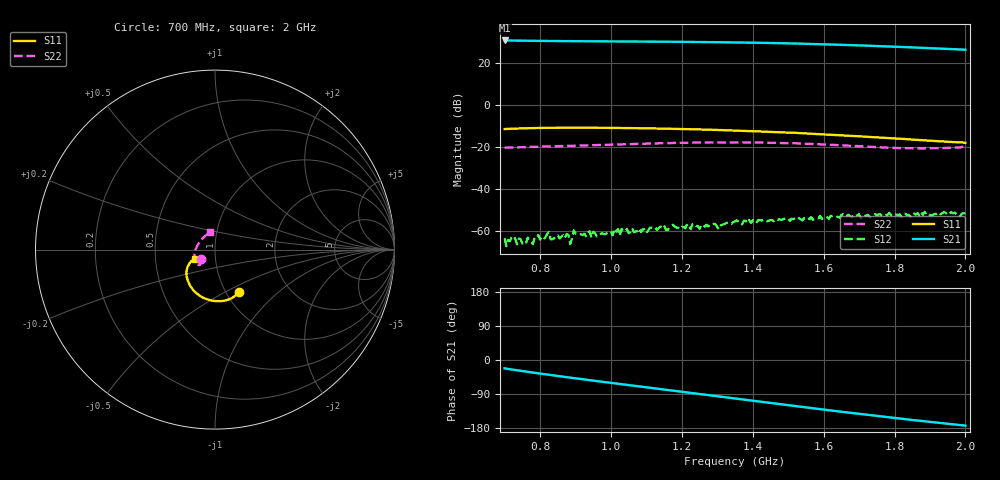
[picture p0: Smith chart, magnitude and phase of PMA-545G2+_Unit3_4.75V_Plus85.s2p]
!Mini-Circuits Laboratory
!S-Parameters
!Model: PMA-545G2+
!Run / Lot / Date Code: N/A / N/A / NA
!Fixture: NA; TEST BOARD: TB-607+
!AUTO PORT EXTENSION DONE: PORT<1>=120.99ps; PORT<2>=143.047ps
!Network Analyzer: PNA-X N5242A - 423 4 ports;  Serial number: 71256
!Date: 1/11/2011
!S/N: Unit# 3
# Hz  S  dB  R  50
!Frequency  S11 dB  S11 Deg  S21 dB  S21 Deg  S12 dB  S12 Deg  S22 dB  S22 Deg
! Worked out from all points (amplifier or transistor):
!   261 points, 700 MHz to 2 GHz, reference 50 ohm
!   highest |S21| = 30.8 dB at 700 MHz (marker M1)
!   |S21| within 3 dB of that: start of sweep to 1.804 GHz
!   unconditionally stable (mu >= 1): start of sweep to end of sweep
!   at 915 MHz: K = 16.26, MAG = 30.8 dB, |S12| = -61.5 dB
!   at 1.35 GHz: K = 8.79, MAG = 30.2 dB, |S12| = -55.4 dB
!   at 2 GHz: K = 8.82, MAG = 26.5 dB, |S12| = -51.5 dB
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7e8  -11.41 -60.7  30.76 -22.1  -63.39 142.5  -20.33 -147.0
7.55e8  -11.07 -66.3  30.63 -29.9  -65.66 114.6  -20.00 -144.0
8.1e8  -10.85 -71.6  30.53 -37.1  -63.92 130.2  -19.75 -141.4
8.6e8  -10.79 -76.5  30.46 -43.4  -62.68 139.4  -19.52 -139.3
8.85e8  -10.77 -78.9  30.43 -46.5  -66.14 130.9  -19.40 -138.2
8.95e8  -10.77 -80.0  30.41 -47.8  -59.68 133.0  -19.38 -138.3
9.2e8  -10.77 -82.5  30.39 -50.8  -61.86 130.7  -19.25 -137.5
9.85e8  -10.84 -88.9  30.32 -58.6  -61.49 146.5  -18.94 -136.0
1.035e9  -10.92 -93.9  30.28 -64.4  -60.07 127.4  -18.65 -135.5
1.135e9  -11.16 -103.4  30.19 -76.1  -58.46 129.5  -18.20 -135.8
1.19e9  -11.37 -108.7  30.12 -82.6  -58.40 130.2  -17.99 -137.4
1.245e9  -11.58 -113.6  30.04 -89.1  -57.64 125.2  -17.88 -139.3
1.3e9  -11.84 -118.6  29.94 -95.6  -58.08 132.5  -17.75 -142.0
1.35e9  -12.12 -122.9  29.83 -101.5  -55.41 115.5  -17.74 -145.3
1.445e9  -12.72 -130.8  29.57 -112.7  -55.06 123.1  -17.91 -152.7
1.52e9  -13.22 -136.6  29.30 -121.6  -53.93 117.0  -18.17 -159.7
1.57e9  -13.65 -140.3  29.08 -127.4  -54.62 119.1  -18.48 -165.8
1.67e9  -14.58 -146.2  28.59 -138.8  -52.21 108.4  -19.31 179.8
1.725e9  -15.10 -149.0  28.26 -144.9  -52.23 106.4  -19.84 169.8
1.785e9  -15.71 -151.1  27.89 -151.4  -51.28 101.3  -20.34 157.3
1.88e9  -16.73 -153.7  27.24 -161.3  -52.23 93.8  -20.61 134.8
2e9  -17.98 -154.6  26.34 -173.2  -51.48 93.8  -19.80 105.2
